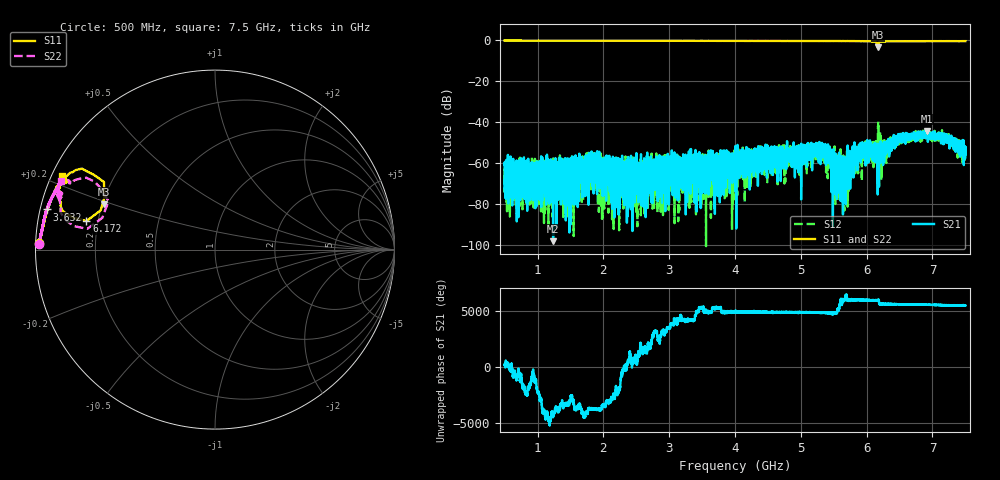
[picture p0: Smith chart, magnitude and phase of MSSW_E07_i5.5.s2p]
!Keysight Technologies,M9374A,MY55442783,A.12.55.05
!Date: Thursday, May 20, 2021 17:29:26
!Correction: S11(Full 2 Port(1,2))
!S21(Full 2 Port(1,2))
!S12(Full 2 Port(1,2))
!S22(Full 2 Port(1,2))
!S2P File: Measurements: S11, S21, S12, S22:
# Hz S  RI  R 50
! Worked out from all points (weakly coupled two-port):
!   7001 points, 500 MHz to 7.5 GHz, reference 50 ohm
!   highest |S21| = -44.41 dB at 6.922 GHz (marker M1); lowest = -98.4 dB at 1.237 GHz (marker M2)
!   lowest |S11| = -3.5 dB at 6.166 GHz (marker M3), VSWR 5.06, Z = 10.2 + j9.39 ohm
!   |S11| at or under -10 dB: nowhere
!   |S22| runs from -3.9 to -0.2 dB; largest |S21 - S12| = 0.009
!   S11 on the Smith chart (normalised r, x): 500 MHz: 0.01, +0.02; 3.632 GHz: 0.02, +0.12; 6.172 GHz: 0.16, +0.11; 7.5 GHz: 0.03, +0.23
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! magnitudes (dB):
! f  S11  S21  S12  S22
! 500 MHz  -0.2  -60.7  -66.0  -0.2
! 729 MHz  -0.2  -69.4  -67.5  -0.2
! 1.237 GHz  -0.2  -98.4  -67.0  -0.2
! 1.667 GHz  -0.3  -60.1  -60.4  -0.3
! 1.843 GHz  -0.3  -64.8  -62.2  -0.3
! 2.005 GHz  -0.3  -61.4  -73.7  -0.3
! 2.336 GHz  -0.3  -71.7  -56.9  -0.3
! 2.834 GHz  -0.3  -61.9  -60.8  -0.3
! 3.632 GHz  -0.3  -65.7  -62.9  -0.3
! 4 GHz  -0.4  -64.5  -61.4  -0.3
! 5.167 GHz  -0.4  -53.7  -53.3  -0.4
! 5.342 GHz  -0.4  -51.7  -53.4  -0.4
! 5.535 GHz  -0.4  -62.0  -61.6  -0.5
! 5.641 GHz  -0.5  -68.2  -70.3  -0.5
! 5.96 GHz  -0.5  -56.0  -55.4  -0.5
! 6.166 GHz  -3.5  -51.8  -54.8  -3.8
! 6.172 GHz  -2.7  -55.3  -42.3  -2.8
! 6.254 GHz  -0.7  -52.2  -52.5  -0.9
! 6.334 GHz  -0.6  -50.2  -52.8  -0.6
! 6.922 GHz  -0.5  -44.4  -45.4  -0.5
! 7.211 GHz  -0.5  -49.9  -48.7  -0.5
! 7.5 GHz  -0.5  -55.9  -51.5  -0.5
